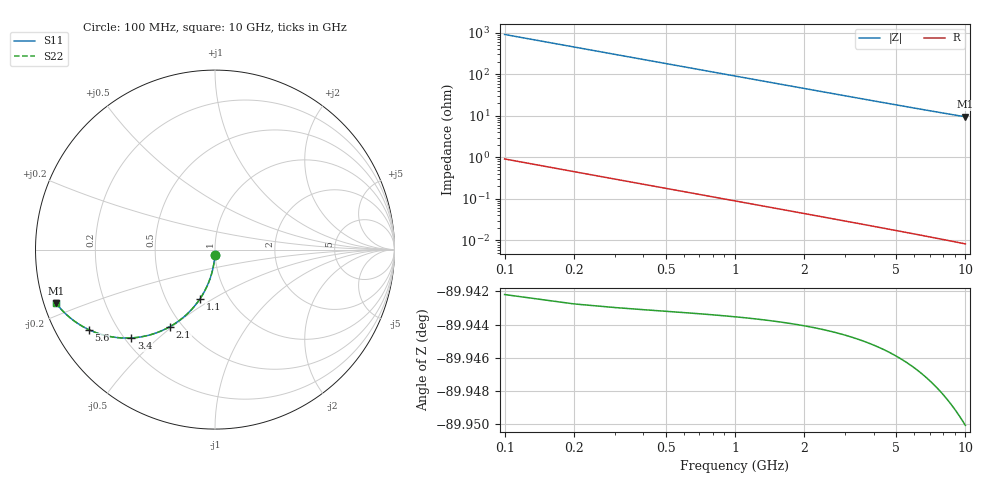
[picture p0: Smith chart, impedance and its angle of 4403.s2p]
# Hz S RI R 50.00
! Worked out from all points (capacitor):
!   100 points, 100 MHz to 10 GHz, reference 50 ohm
!   read as one part in shunt: C = 1.75 pF near 100 MHz
!   lowest |Z| = 9.48 ohm at 10 GHz (marker M1)
!   S11 on the Smith chart (normalised r, x): 100 MHz: 1.00, -0.05; 1.1 GHz: 0.73, -0.44; 2.1 GHz: 0.43, -0.49; 3.4 GHz: 0.23, -0.41; 5.6 GHz: 0.10, -0.29; 10 GHz: 0.04, -0.16
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1e8  -0.000744 -0.0273  0.9992 -0.0277  0.9992 -0.0277  -0.000744 -0.0273
2e8  -0.00303 -0.0545  0.9969 -0.0552  0.9969 -0.0552  -0.00303 -0.0545
3e8  -0.0068 -0.0814  0.9931 -0.0825  0.9931 -0.0825  -0.0068 -0.0814
4e8  -0.012 -0.1079  0.9879 -0.1094  0.9879 -0.1094  -0.012 -0.1079
5e8  -0.0186 -0.134  0.9813 -0.1358  0.9813 -0.1358  -0.0186 -0.134
6e8  -0.0266 -0.1595  0.9733 -0.1617  0.9733 -0.1617  -0.0266 -0.1595
7e8  -0.0359 -0.1843  0.9641 -0.1868  0.9641 -0.1868  -0.0359 -0.1843
9e8  -0.0579 -0.2315  0.942 -0.2347  0.942 -0.2347  -0.0579 -0.2315
1.1e9  -0.084 -0.275  0.9159 -0.279  0.9159 -0.279  -0.084 -0.275
1.4e9  -0.1293 -0.3325  0.8706 -0.3376  0.8706 -0.3376  -0.1293 -0.3325
1.8e9  -0.197 -0.394  0.8029 -0.4005  0.8029 -0.4005  -0.197 -0.394
2.1e9  -0.2502 -0.4288  0.7497 -0.4365  0.7497 -0.4365  -0.2502 -0.4288
2.4e9  -0.3035 -0.4549  0.6964 -0.4637  0.6964 -0.4637  -0.3035 -0.4549
2.7e9  -0.3554 -0.4732  0.6445 -0.4831  0.6445 -0.4831  -0.3554 -0.4732
3.4e9  -0.4664 -0.4921  0.5334 -0.5046  0.5334 -0.5046  -0.4664 -0.4921
4.2e9  -0.5716 -0.4866  0.4282 -0.5021  0.4282 -0.5021  -0.5716 -0.4866
5.1e9  -0.6632 -0.4626  0.3366 -0.4815  0.3366 -0.4815  -0.6632 -0.4626
5.6e9  -0.7037 -0.4456  0.296 -0.4664  0.296 -0.4664  -0.7037 -0.4456
6.7e9  -0.7731 -0.4057  0.2265 -0.4307  0.2265 -0.4307  -0.7731 -0.4057
7.5e9  -0.8105 -0.3771  0.189 -0.4053  0.189 -0.4053  -0.8105 -0.3771
8.4e9  -0.8432 -0.3469  0.1562 -0.3787  0.1562 -0.3787  -0.8432 -0.3469
1e10  -0.8846 -0.2993  0.1146 -0.3376  0.1146 -0.3376  -0.8846 -0.2993
